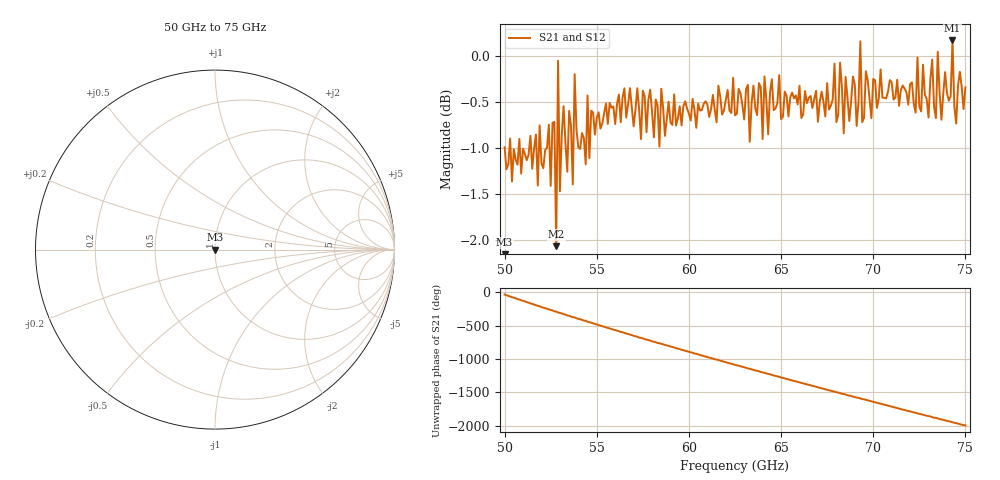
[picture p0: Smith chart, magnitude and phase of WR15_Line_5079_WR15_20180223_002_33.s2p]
# GHZ S RI R 50
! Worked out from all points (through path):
!   251 points, 50 GHz to 75 GHz, reference 50 ohm
!   highest |S21| = 0.16 dB at 74.3 GHz (marker M1); lowest = -2.1 dB at 52.8 GHz (marker M2)
!   lowest |S11| = - dB at 50 GHz (marker M3), VSWR 1.00, Z = 50 + j6.04e-16 ohm
!   |S11| at or under -10 dB: start of sweep to end of sweep
!   |S22| runs from - to - dB; largest |S21 - S12| = 2e-15
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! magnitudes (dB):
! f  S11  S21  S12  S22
! 50 GHz  -  -1.0  -1.0  -
! 52.4 GHz  -  -0.7  -0.7  -
! 52.5 GHz  -  -1.4  -1.4  -
! 52.7 GHz  -  -0.7  -0.7  -
! 52.8 GHz  -  -2.1  -2.1  -
! 52.9 GHz  -  -0.1  -0.1  -
! 53 GHz  -  -1.5  -1.5  -
! 53.2 GHz  -  -0.5  -0.5  -
! 53.7 GHz  -  -1.4  -1.4  -
! 53.8 GHz  -  -0.2  -0.2  -
! 54.2 GHz  -  -0.8  -0.8  -
! 58.4 GHz  -  -1.0  -1.0  -
! 58.5 GHz  -  -0.4  -0.4  -
! 62.5 GHz  -  -0.6  -0.6  -
! 66.7 GHz  -  -0.6  -0.6  -
! 70.9 GHz  -  -0.3  -0.3  -
! 73.4 GHz  -  -0.7  -0.7  -
! 73.5 GHz  -  0.0  0.0  -
! 73.7 GHz  -  -0.7  -0.7  -
! 74.3 GHz  -  0.2  0.2  -
! 74.5 GHz  -  -0.7  -0.7  -
! 75 GHz  -  -0.3  -0.3  -
